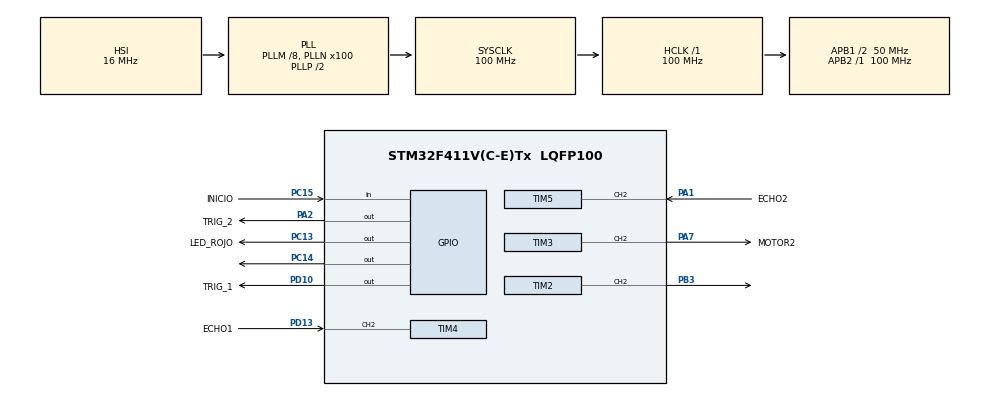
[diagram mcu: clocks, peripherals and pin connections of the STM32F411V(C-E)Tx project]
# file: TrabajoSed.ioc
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Mcu.Family=STM32F4
Mcu.Name=STM32F411V(C-E)Tx
Mcu.Package=LQFP100
NVIC.PriorityGroup=NVIC_PRIORITYGROUP_0
NVIC.TIM4_IRQn=true\:0\:0\:false\:false\:true\:true\:true\:true
NVIC.TIM5_IRQn=true\:0\:0\:false\:false\:true\:true\:true\:true
PA1.GPIO_Label=ECHO2
PA1.Signal=S_TIM5_CH2
PA13.Mode=Serial_Wire
PA13.Signal=SYS_JTMS-SWDIO
PA14.Mode=Serial_Wire
PA14.Signal=SYS_JTCK-SWCLK
PA2.GPIO_Label=TRIG_2
PA2.Signal=GPIO_Output
PA7.GPIO_Label=MOTOR2
PA7.Signal=S_TIM3_CH2
PB3.Signal=S_TIM2_CH2
PC13-ANTI_TAMP.GPIO_Label=LED_ROJO
PC13-ANTI_TAMP.Signal=GPIO_Output
PC14-OSC32_IN.Signal=GPIO_Output
PC15-OSC32_OUT.GPIO_Label=INICIO
PC15-OSC32_OUT.GPIO_PuPd=GPIO_PULLUP
PC15-OSC32_OUT.Signal=GPIO_Input
PD10.GPIO_Label=TRIG_1
PD10.Signal=GPIO_Output
PD13.GPIO_Label=ECHO1
PD13.Signal=S_TIM4_CH2
ProjectManager.HeapSize=0x200
ProjectManager.StackSize=0x400
ProjectManager.TargetToolchain=STM32CubeIDE
RCC.48MHZClocksFreq_Value=25000000
RCC.AHBFreq_Value=100000000
RCC.APB1CLKDivider=RCC_HCLK_DIV2
RCC.APB1Freq_Value=50000000
RCC.APB1TimFreq_Value=100000000
RCC.APB2Freq_Value=100000000
RCC.APB2TimFreq_Value=100000000
RCC.CortexFreq_Value=100000000
RCC.HCLKFreq_Value=100000000
RCC.HSE_VALUE=8000000
RCC.HSI_VALUE=16000000
RCC.LSE_VALUE=32768
RCC.PLLI2SM=5
RCC.PLLI2SN=200
RCC.PLLM=8
RCC.PLLN=100
RCC.PLLQ=8
RCC.SYSCLKFreq_VALUE=100000000
RCC.SYSCLKSource=RCC_SYSCLKSOURCE_PLLCLK
RCC.VCOOutputFreq_Value=200000000
SH.S_TIM2_CH2.0=TIM2_CH2,PWM Generation2 CH2
SH.S_TIM3_CH2.0=TIM3_CH2,PWM Generation2 CH2
SH.S_TIM4_CH2.0=TIM4_CH2,Input_Capture2_from_TI2
SH.S_TIM5_CH2.0=TIM5_CH2,Input_Capture2_from_TI2
TIM2.Channel-PWM\ Generation2\ CH2=TIM_CHANNEL_2
TIM2.Period=10000-1
TIM2.Prescaler=100-1
TIM3.Channel-PWM\ Generation2\ CH2=TIM_CHANNEL_2
TIM3.Period=10000-1
TIM3.Prescaler=100-1
TIM4.Channel-Input_Capture2_from_TI2=TIM_CHANNEL_2
TIM4.ICFilter_CH2=4
TIM4.Prescaler=100-1
TIM5.Channel-Input_Capture2_from_TI2=TIM_CHANNEL_2
TIM5.ICFilter_CH2=4
TIM5.Period=65535
TIM5.Prescaler=100-1
VP_TIM2_VS_ClockSourceINT.Mode=Internal
VP_TIM3_VS_ClockSourceINT.Mode=Internal
VP_TIM4_VS_ClockSourceINT.Mode=Internal
VP_TIM5_VS_ClockSourceINT.Mode=Internal
board=STM32F411E-DISCO

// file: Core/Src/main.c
/* USER CODE BEGIN Header */
/**
  ******************************************************************************
  * @file           : main.c
  * @brief          : Main program body
  ******************************************************************************
  * @attention
  *
  * Copyright (c) 2025 STMicroelectronics.
  * All rights reserved.
  *
  * This software is licensed under terms that can be found in the LICENSE file
  * in the root directory of this software component.
  * If no LICENSE file comes with this software, it is provided AS-IS.
  *
  ******************************************************************************
  */
/* USER CODE END Header */
#include "main.h"

/* USER CODE BEGIN Includes */
typedef enum {
    WAITING_BUTTON,
	lavando,
    MOVING_MOTOR_2
} SystemState;
/* USER CODE END PTD */
SystemState currentState = WAITING_BUTTON;

/* USER CODE END Includes */

/* USER CODE BEGIN PD */
// Definiciones de pines
#define BUTTON_PIN GPIO_PIN_15
#define BUTTON_PORT GPIOC

#define LED_RED_PIN GPIO_PIN_13
#define LED_GREEN_PIN GPIO_PIN_14
#define LED_PORT GPIOC

#define MOTOR1_PIN GPIO_PIN_10
#define MOTOR2_PIN GPIO_PIN_7
#define MOTOR1_PORT GPIOB
#define MOTOR2_PORT GPIOA

#define ECHO2_PIN GPIO_PIN_1
#define TRIG2_PIN GPIO_PIN_2
#define ECHO_PIN GPIO_PIN_13
#define TRIG_PIN GPIO_PIN_10
#define ULTRASONIC_PORT GPIOD
#define ULTRASONIC_PORT2 GPIOA

/* USER CODE END PD */

TIM_HandleTypeDef htim2;
TIM_HandleTypeDef htim3;
TIM_HandleTypeDef htim4;
TIM_HandleTypeDef htim5;

void SystemClock_Config(void);
static void MX_GPIO_Init(void);
static void MX_TIM2_Init(void);
static void MX_TIM3_Init(void);
static void MX_TIM4_Init(void);
static void MX_TIM5_Init(void);
/* USER CODE BEGIN PFP */
void delayMicroseconds(uint16_t microseconds);

void delayMicroseconds(uint16_t microseconds) {
    __HAL_TIM_SET_COUNTER(&htim4, 0); // Reinicia el contador
    while (__HAL_TIM_GET_COUNTER(&htim4) < microseconds); // Espera
}

float readUltrasonicDistance1(void) {
    // Emitir pulso TRIG
	    uint32_t startTime = 0, endTime = 0;
	    HAL_TIM_Base_Start(&htim4);
	    // Genera el pulso TRIG (10µs)
	    HAL_GPIO_WritePin(ULTRASONIC_PORT, TRIG_PIN, GPIO_PIN_SET);
	    delayMicroseconds(10);
	    HAL_GPIO_WritePin(ULTRASONIC_PORT, TRIG_PIN, GPIO_PIN_RESET);

	    // Espera el inicio del pulso ECHO
	    while (HAL_GPIO_ReadPin(ULTRASONIC_PORT, ECHO_PIN) == GPIO_PIN_RESET);

	    startTime = __HAL_TIM_GET_COUNTER(&htim4); // Marca el tiempo inicial

	    // Espera el final del pulso ECHO
	    while (HAL_GPIO_ReadPin(ULTRASONIC_PORT, ECHO_PIN) == GPIO_PIN_SET);

	    endTime = __HAL_TIM_GET_COUNTER(&htim4); // Marca el tiempo final

	    // Calcula la duración del pulso (en microsegundos)
	    uint32_t duration = endTime - startTime;

	    // Calcula la distancia en cm (velocidad del sonido: 34300 cm/s)
	    return (duration * 0.0343) / 2;
}
float readUltrasonicDistance2(void) {
    // Emitir pulso TRIG
	    uint32_t startTime = 0, endTime = 0;
	    HAL_TIM_Base_Start(&htim5);
	    // Genera el pulso TRIG (10µs)
	    HAL_GPIO_WritePin(ULTRASONIC_PORT2, TRIG2_PIN, GPIO_PIN_SET);
	    delayMicroseconds(10);
	    HAL_GPIO_WritePin(ULTRASONIC_PORT2, TRIG2_PIN, GPIO_PIN_RESET);

	    // Espera el inicio del pulso ECHO
	    while (HAL_GPIO_ReadPin(ULTRASONIC_PORT2, ECHO2_PIN) == GPIO_PIN_RESET);

	    startTime = __HAL_TIM_GET_COUNTER(&htim5); // Marca el tiempo inicial

	    // Espera el final del pulso ECHO
	    while (HAL_GPIO_ReadPin(ULTRASONIC_PORT2, ECHO2_PIN) == GPIO_PIN_SET);

	    endTime = __HAL_TIM_GET_COUNTER(&htim5); // Marca el tiempo final

	    // Calcula la duración del pulso (en microsegundos)
	    uint32_t duration = endTime - startTime;

	    // Calcula la distancia en cm (velocidad del sonido: 34300 cm/s)
	    return (duration * 0.0343) / 2;
}

void moveMotor1(void) {
	   __HAL_TIM_SET_COMPARE(&htim2, TIM_CHANNEL_2, 500);
	     HAL_Delay(5000);  // Tiempo para subir la barrera
	  __HAL_TIM_SET_COMPARE(&htim2, TIM_CHANNEL_2, 2000);
}

void moveMotor2(void) {
	   __HAL_TIM_SET_COMPARE(&htim3, TIM_CHANNEL_2, 500);
	     HAL_Delay(5000);  // Tiempo para subir la barrera
	  __HAL_TIM_SET_COMPARE(&htim3, TIM_CHANNEL_2, 2000);
}

void toggleLEDs(int presenceDetected) {
    if (presenceDetected) {
        HAL_GPIO_WritePin(LED_PORT, LED_RED_PIN, GPIO_PIN_SET); // Apagar LED rojo
        HAL_GPIO_WritePin(LED_PORT, LED_GREEN_PIN, GPIO_PIN_RESET); // Encender LED verde
    } else {
        HAL_GPIO_WritePin(LED_PORT, LED_RED_PIN, GPIO_PIN_RESET);   // Encender LED rojo
        HAL_GPIO_WritePin(LED_PORT, LED_GREEN_PIN, GPIO_PIN_SET); // Apagar LED verde
    }
}

void process() {

	    toggleLEDs(1);
        float distance=0.0;  // Para el ultrasonido 1
        float distance2=0.0; // Para el ultrasonido 2

        // Manejo de estados
        switch (currentState) {
            case WAITING_BUTTON:

                // Encender LED rojo inicialment
            	distance = readUltrasonicDistance1();
                // Usar distancia calculada desde interrupción
                if (HAL_GPIO_ReadPin(GPIOC, GPIO_PIN_15) == GPIO_PIN_RESET) {
                	if (distance > 10.0 ){
                   // HAL_TIM_PWM_Start(&htim2, TIM_CHANNEL_2); // Iniciar motor 1
                    //moveMotor1();
                		 HAL_TIM_PWM_Start(&htim2, TIM_CHANNEL_2); // Iniciar motor 2
                		  moveMotor1();
                   // toggleLEDs(0);
                           // Mover motor 1
                    currentState = lavando;
                	}// Cambiar al estado de lavado
                }
                break;

            case lavando:
                // Usar distancia actual del ultrasonido 1
                if (distance < 10.0) {
                    for (int i = 0; i < 5; i++) {
                        HAL_GPIO_WritePin(GPIOC, GPIO_PIN_13, GPIO_PIN_SET);
                        HAL_Delay(1000); // Simula tiempo de lavado
                        HAL_GPIO_WritePin(GPIOC, GPIO_PIN_13, GPIO_PIN_RESET);
                        HAL_Delay(1000);
                    }
                    currentState = MOVING_MOTOR_2; // Cambiar al estado de mover motor 2
                }
                break;

            case MOVING_MOTOR_2:
                // Usar distancia actual del ultrasonido 2
            	distance2 = readUltrasonicDistance2();
                if (distance2 < 7.0) {

                    HAL_TIM_PWM_Start(&htim3, TIM_CHANNEL_2); // Iniciar motor 2
                    moveMotor2();                             // Mover motor 2
                    toggleLEDs(1);                            // Encender LED rojo
                    currentState = WAITING_BUTTON;            // Volver al estado inicial
                }
                break;

            default:
                currentState = WAITING_BUTTON; // Reiniciar estado por seguridad
                break;
        }
    }

/* USER CODE END PFP */

int main(void)
{

  /* MCU Configuration--------------------------------------------------------*/

  /* Reset of all peripherals, Initializes the Flash interface and the Systick. */
  HAL_Init();

  /* Configure the system clock */
  SystemClock_Config();

  /* Initialize all configured peripherals */
  MX_GPIO_Init();
  MX_TIM2_Init();
  MX_TIM3_Init();
  MX_TIM4_Init();
  MX_TIM5_Init();

  /* Infinite loop */
  while (1)
  {
process();
HAL_Delay(100);
  }
}

void SystemClock_Config(void)
{
  RCC_OscInitTypeDef RCC_OscInitStruct = {0};
  RCC_ClkInitTypeDef RCC_ClkInitStruct = {0};

  /** Configure the main internal regulator output voltage
  */
  __HAL_RCC_PWR_CLK_ENABLE();
  __HAL_PWR_VOLTAGESCALING_CONFIG(PWR_REGULATOR_VOLTAGE_SCALE1);

  /** Initializes the RCC Oscillators according to the specified parameters
  * in the RCC_OscInitTypeDef structure.
  */
  RCC_OscInitStruct.OscillatorType = RCC_OSCILLATORTYPE_HSI;
  RCC_OscInitStruct.HSIState = RCC_HSI_ON;
  RCC_OscInitStruct.HSICalibrationValue = RCC_HSICALIBRATION_DEFAULT;
  RCC_OscInitStruct.PLL.PLLState = RCC_PLL_ON;
  RCC_OscInitStruct.PLL.PLLSource = RCC_PLLSOURCE_HSI;
  RCC_OscInitStruct.PLL.PLLM = 8;
  RCC_OscInitStruct.PLL.PLLN = 100;
  RCC_OscInitStruct.PLL.PLLP = RCC_PLLP_DIV2;
  RCC_OscInitStruct.PLL.PLLQ = 8;
  if (HAL_RCC_OscConfig(&RCC_OscInitStruct) != HAL_OK)
  {
    Error_Handler();
  }

  /** Initializes the CPU, AHB and APB buses clocks
  */
  RCC_ClkInitStruct.ClockType = RCC_CLOCKTYPE_HCLK|RCC_CLOCKTYPE_SYSCLK
                              |RCC_CLOCKTYPE_PCLK1|RCC_CLOCKTYPE_PCLK2;
  RCC_ClkInitStruct.SYSCLKSource = RCC_SYSCLKSOURCE_PLLCLK;
  RCC_ClkInitStruct.AHBCLKDivider = RCC_SYSCLK_DIV1;
  RCC_ClkInitStruct.APB1CLKDivider = RCC_HCLK_DIV2;
  RCC_ClkInitStruct.APB2CLKDivider = RCC_HCLK_DIV1;

  if (HAL_RCC_ClockConfig(&RCC_ClkInitStruct, FLASH_LATENCY_3) != HAL_OK)
  {
    Error_Handler();
  }
}

static void MX_TIM2_Init(void)
{

  TIM_ClockConfigTypeDef sClockSourceConfig = {0};
  TIM_MasterConfigTypeDef sMasterConfig = {0};
  TIM_OC_InitTypeDef sConfigOC = {0};

  htim2.Instance = TIM2;
  htim2.Init.Prescaler = 100-1;
  htim2.Init.CounterMode = TIM_COUNTERMODE_UP;
  htim2.Init.Period = 10000-1;
  htim2.Init.ClockDivision = TIM_CLOCKDIVISION_DIV1;
  htim2.Init.AutoReloadPreload = TIM_AUTORELOAD_PRELOAD_DISABLE;
  if (HAL_TIM_Base_Init(&htim2) != HAL_OK)
  {
    Error_Handler();
  }
  sClockSourceConfig.ClockSource = TIM_CLOCKSOURCE_INTERNAL;
  if (HAL_TIM_ConfigClockSource(&htim2, &sClockSourceConfig) != HAL_OK)
  {
    Error_Handler();
  }
  if (HAL_TIM_PWM_Init(&htim2) != HAL_OK)
  {
    Error_Handler();
  }
  sMasterConfig.MasterOutputTrigger = TIM_TRGO_RESET;
  sMasterConfig.MasterSlaveMode = TIM_MASTERSLAVEMODE_DISABLE;
  if (HAL_TIMEx_MasterConfigSynchronization(&htim2, &sMasterConfig) != HAL_OK)
  {
    Error_Handler();
  }
  sConfigOC.OCMode = TIM_OCMODE_PWM1;
  sConfigOC.Pulse = 0;
  sConfigOC.OCPolarity = TIM_OCPOLARITY_HIGH;
  sConfigOC.OCFastMode = TIM_OCFAST_DISABLE;
  if (HAL_TIM_PWM_ConfigChannel(&htim2, &sConfigOC, TIM_CHANNEL_2) != HAL_OK)
  {
    Error_Handler();
  }
  HAL_TIM_MspPostInit(&htim2);

}

static void MX_TIM3_Init(void)
{

  TIM_ClockConfigTypeDef sClockSourceConfig = {0};
  TIM_MasterConfigTypeDef sMasterConfig = {0};
  TIM_OC_InitTypeDef sConfigOC = {0};

  htim3.Instance = TIM3;
  htim3.Init.Prescaler = 100-1;
  htim3.Init.CounterMode = TIM_COUNTERMODE_UP;
  htim3.Init.Period = 10000-1;
  htim3.Init.ClockDivision = TIM_CLOCKDIVISION_DIV1;
  htim3.Init.AutoReloadPreload = TIM_AUTORELOAD_PRELOAD_DISABLE;
  if (HAL_TIM_Base_Init(&htim3) != HAL_OK)
  {
    Error_Handler();
  }
  sClockSourceConfig.ClockSource = TIM_CLOCKSOURCE_INTERNAL;
  if (HAL_TIM_ConfigClockSource(&htim3, &sClockSourceConfig) != HAL_OK)
  {
    Error_Handler();
  }
  if (HAL_TIM_PWM_Init(&htim3) != HAL_OK)
  {
    Error_Handler();
  }
  sMasterConfig.MasterOutputTrigger = TIM_TRGO_RESET;
  sMasterConfig.MasterSlaveMode = TIM_MASTERSLAVEMODE_DISABLE;
  if (HAL_TIMEx_MasterConfigSynchronization(&htim3, &sMasterConfig) != HAL_OK)
  {
    Error_Handler();
  }
  sConfigOC.OCMode = TIM_OCMODE_PWM1;
  sConfigOC.Pulse = 0;
  sConfigOC.OCPolarity = TIM_OCPOLARITY_HIGH;
  sConfigOC.OCFastMode = TIM_OCFAST_DISABLE;
  if (HAL_TIM_PWM_ConfigChannel(&htim3, &sConfigOC, TIM_CHANNEL_2) != HAL_OK)
  {
    Error_Handler();
  }
  HAL_TIM_MspPostInit(&htim3);

}

static void MX_TIM4_Init(void)
{

  TIM_ClockConfigTypeDef sClockSourceConfig = {0};
  TIM_MasterConfigTypeDef sMasterConfig = {0};
  TIM_IC_InitTypeDef sConfigIC = {0};

  htim4.Instance = TIM4;
  htim4.Init.Prescaler = 100-1;
  htim4.Init.CounterMode = TIM_COUNTERMODE_UP;
  htim4.Init.Period = 65535;
  htim4.Init.ClockDivision = TIM_CLOCKDIVISION_DIV1;
  htim4.Init.AutoReloadPreload = TIM_AUTORELOAD_PRELOAD_DISABLE;
  if (HAL_TIM_Base_Init(&htim4) != HAL_OK)
  {
    Error_Handler();
  }
  sClockSourceConfig.ClockSource = TIM_CLOCKSOURCE_INTERNAL;
  if (HAL_TIM_ConfigClockSource(&htim4, &sClockSourceConfig) != HAL_OK)
  {
    Error_Handler();
  }
  if (HAL_TIM_IC_Init(&htim4) != HAL_OK)
  {
    Error_Handler();
  }
  sMasterConfig.MasterOutputTrigger = TIM_TRGO_RESET;
  sMasterConfig.MasterSlaveMode = TIM_MASTERSLAVEMODE_DISABLE;
  if (HAL_TIMEx_MasterConfigSynchronization(&htim4, &sMasterConfig) != HAL_OK)
  {
    Error_Handler();
  }
  sConfigIC.ICPolarity = TIM_INPUTCHANNELPOLARITY_RISING;
  sConfigIC.ICSelection = TIM_ICSELECTION_DIRECTTI;
  sConfigIC.ICPrescaler = TIM_ICPSC_DIV1;
  sConfigIC.ICFilter = 4;
  if (HAL_TIM_IC_ConfigChannel(&htim4, &sConfigIC, TIM_CHANNEL_2) != HAL_OK)
  {
    Error_Handler();
  }

}

static void MX_TIM5_Init(void)
{

  TIM_ClockConfigTypeDef sClockSourceConfig = {0};
  TIM_MasterConfigTypeDef sMasterConfig = {0};
  TIM_IC_InitTypeDef sConfigIC = {0};

  htim5.Instance = TIM5;
  htim5.Init.Prescaler = 100-1;
  htim5.Init.CounterMode = TIM_COUNTERMODE_UP;
  htim5.Init.Period = 65535;
  htim5.Init.ClockDivision = TIM_CLOCKDIVISION_DIV1;
  htim5.Init.AutoReloadPreload = TIM_AUTORELOAD_PRELOAD_DISABLE;
  if (HAL_TIM_Base_Init(&htim5) != HAL_OK)
  {
    Error_Handler();
  }
  sClockSourceConfig.ClockSource = TIM_CLOCKSOURCE_INTERNAL;
  if (HAL_TIM_ConfigClockSource(&htim5, &sClockSourceConfig) != HAL_OK)
  {
    Error_Handler();
  }
  if (HAL_TIM_IC_Init(&htim5) != HAL_OK)
  {
    Error_Handler();
  }
  sMasterConfig.MasterOutputTrigger = TIM_TRGO_RESET;
  sMasterConfig.MasterSlaveMode = TIM_MASTERSLAVEMODE_DISABLE;
  if (HAL_TIMEx_MasterConfigSynchronization(&htim5, &sMasterConfig) != HAL_OK)
  {
    Error_Handler();
  }
  sConfigIC.ICPolarity = TIM_INPUTCHANNELPOLARITY_RISING;
  sConfigIC.ICSelection = TIM_ICSELECTION_DIRECTTI;
  sConfigIC.ICPrescaler = TIM_ICPSC_DIV1;
  sConfigIC.ICFilter = 4;
  if (HAL_TIM_IC_ConfigChannel(&htim5, &sConfigIC, TIM_CHANNEL_2) != HAL_OK)
  {
    Error_Handler();
  }

}

static void MX_GPIO_Init(void)
{
  GPIO_InitTypeDef GPIO_InitStruct = {0};

  /* GPIO Ports Clock Enable */
  __HAL_RCC_GPIOC_CLK_ENABLE();
  __HAL_RCC_GPIOA_CLK_ENABLE();
  __HAL_RCC_GPIOD_CLK_ENABLE();
  __HAL_RCC_GPIOB_CLK_ENABLE();

  /*Configure GPIO pin Output Level */
  HAL_GPIO_WritePin(GPIOC, LED_ROJO_Pin|GPIO_PIN_14, GPIO_PIN_RESET);

  /*Configure GPIO pin Output Level */
  HAL_GPIO_WritePin(TRIG_2_GPIO_Port, TRIG_2_Pin, GPIO_PIN_RESET);

  /*Configure GPIO pin Output Level */
  HAL_GPIO_WritePin(TRIG_1_GPIO_Port, TRIG_1_Pin, GPIO_PIN_RESET);

  /*Configure GPIO pins : LED_ROJO_Pin PC14 */
  GPIO_InitStruct.Pin = LED_ROJO_Pin|GPIO_PIN_14;
  GPIO_InitStruct.Mode = GPIO_MODE_OUTPUT_PP;
  GPIO_InitStruct.Pull = GPIO_NOPULL;
  GPIO_InitStruct.Speed = GPIO_SPEED_FREQ_LOW;
  HAL_GPIO_Init(GPIOC, &GPIO_InitStruct);

  /*Configure GPIO pin : INICIO_Pin */
  GPIO_InitStruct.Pin = INICIO_Pin;
  GPIO_InitStruct.Mode = GPIO_MODE_INPUT;
  GPIO_InitStruct.Pull = GPIO_PULLUP;
  HAL_GPIO_Init(INICIO_GPIO_Port, &GPIO_InitStruct);

  /*Configure GPIO pin : TRIG_2_Pin */
  GPIO_InitStruct.Pin = TRIG_2_Pin;
  GPIO_InitStruct.Mode = GPIO_MODE_OUTPUT_PP;
  GPIO_InitStruct.Pull = GPIO_NOPULL;
  GPIO_InitStruct.Speed = GPIO_SPEED_FREQ_LOW;
  HAL_GPIO_Init(TRIG_2_GPIO_Port, &GPIO_InitStruct);

  /*Configure GPIO pin : TRIG_1_Pin */
  GPIO_InitStruct.Pin = TRIG_1_Pin;
  GPIO_InitStruct.Mode = GPIO_MODE_OUTPUT_PP;
  GPIO_InitStruct.Pull = GPIO_NOPULL;
  GPIO_InitStruct.Speed = GPIO_SPEED_FREQ_LOW;
  HAL_GPIO_Init(TRIG_1_GPIO_Port, &GPIO_InitStruct);

}

void Error_Handler(void)
{
  __disable_irq();
  while (1)
  {
  }
}
